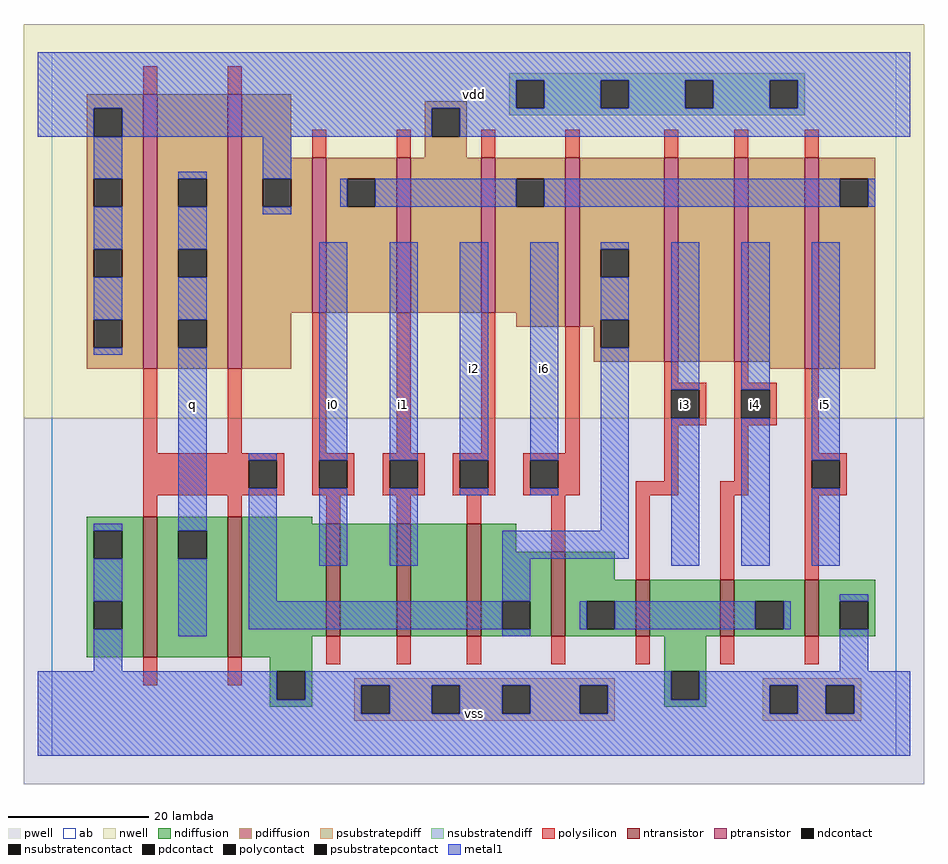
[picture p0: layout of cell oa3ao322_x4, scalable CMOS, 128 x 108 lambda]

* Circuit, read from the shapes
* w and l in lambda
.subckt oa3ao322_x4 i0 i1 i2 i3 i4 i5 i6 q vdd vss
M1 q n1 vss vss nfet w=20 l=2 m=2
M2 n2 i0 vss vss nfet w=16 l=2
M3 n3 i1 n2 vss nfet w=16 l=2
M4 n1 i2 n3 vss nfet w=16 l=2
M5 n4 i6 n1 vss nfet w=12 l=2
M6 vss i3 n4 vss nfet w=8 l=2
M7 n4 i4 vss vss nfet w=8 l=2
M8 vss i5 n4 vss nfet w=8 l=2
M9 q n1 vdd vdd pfet w=39 l=2 m=2
M10 n5 i0 vdd vdd pfet w=22 l=2
M11 vdd i1 n5 vdd pfet w=22 l=2
M12 n5 i2 vdd vdd pfet w=22 l=2
M13 n1 i6 n5 vdd pfet w=24 l=2
M14 n6 i3 n1 vdd pfet w=29 l=2
M15 n7 i4 n6 vdd pfet w=29 l=2
M16 n5 i5 n7 vdd pfet w=30 l=2
.ends

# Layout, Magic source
magic
tech scmos
<< ab >>
rect 0 0 120 100
<< pwell >>
rect -4 -4 124 48
<< nwell >>
rect -4 48 124 104
<< polysilicon >>
rect 13 94 15 98
rect 25 94 27 98
rect 37 85 39 89
rect 49 85 51 89
rect 61 85 63 89
rect 73 85 75 89
rect 87 85 89 89
rect 97 85 99 89
rect 107 85 109 89
rect 13 43 15 55
rect 25 43 27 55
rect 37 43 39 63
rect 49 43 51 63
rect 61 43 63 63
rect 73 43 75 61
rect 13 42 33 43
rect 13 38 28 42
rect 32 38 33 42
rect 13 37 33 38
rect 37 42 43 43
rect 37 38 38 42
rect 42 38 43 42
rect 37 37 43 38
rect 47 42 53 43
rect 47 38 48 42
rect 52 38 53 42
rect 47 37 53 38
rect 57 42 63 43
rect 57 38 58 42
rect 62 38 63 42
rect 57 37 63 38
rect 67 42 75 43
rect 67 38 68 42
rect 72 38 75 42
rect 87 53 89 56
rect 97 53 99 56
rect 87 52 93 53
rect 87 48 88 52
rect 92 48 93 52
rect 87 47 93 48
rect 97 52 103 53
rect 97 48 98 52
rect 102 48 103 52
rect 97 47 103 48
rect 87 39 89 47
rect 97 39 99 47
rect 67 37 75 38
rect 83 37 89 39
rect 95 37 99 39
rect 107 43 109 55
rect 107 42 113 43
rect 107 38 108 42
rect 112 38 113 42
rect 107 37 113 38
rect 13 34 15 37
rect 25 34 27 37
rect 39 33 41 37
rect 49 33 51 37
rect 59 33 61 37
rect 71 29 73 37
rect 83 25 85 37
rect 95 25 97 37
rect 107 25 109 37
rect 13 10 15 14
rect 25 10 27 14
rect 39 13 41 17
rect 49 13 51 17
rect 59 13 61 17
rect 71 13 73 17
rect 83 13 85 17
rect 95 13 97 17
rect 107 13 109 17
<< ndiffusion >>
rect 5 32 13 34
rect 5 28 6 32
rect 10 28 13 32
rect 5 22 13 28
rect 5 18 6 22
rect 10 18 13 22
rect 5 14 13 18
rect 15 32 25 34
rect 15 28 18 32
rect 22 28 25 32
rect 15 14 25 28
rect 27 33 37 34
rect 27 17 39 33
rect 41 17 49 33
rect 51 17 59 33
rect 61 29 66 33
rect 61 22 71 29
rect 61 18 64 22
rect 68 18 71 22
rect 61 17 71 18
rect 73 25 80 29
rect 73 22 83 25
rect 73 18 76 22
rect 80 18 83 22
rect 73 17 83 18
rect 85 17 95 25
rect 97 22 107 25
rect 97 18 100 22
rect 104 18 107 22
rect 97 17 107 18
rect 109 22 117 25
rect 109 18 112 22
rect 116 18 117 22
rect 109 17 117 18
rect 27 14 37 17
rect 31 12 37 14
rect 31 8 32 12
rect 36 8 37 12
rect 87 12 93 17
rect 31 7 37 8
rect 87 8 88 12
rect 92 8 93 12
rect 87 7 93 8
<< pdiffusion >>
rect 5 92 13 94
rect 5 88 6 92
rect 10 88 13 92
rect 5 82 13 88
rect 5 78 6 82
rect 10 78 13 82
rect 5 72 13 78
rect 5 68 6 72
rect 10 68 13 72
rect 5 62 13 68
rect 5 58 6 62
rect 10 58 13 62
rect 5 55 13 58
rect 15 82 25 94
rect 15 78 18 82
rect 22 78 25 82
rect 15 72 25 78
rect 15 68 18 72
rect 22 68 25 72
rect 15 62 25 68
rect 15 58 18 62
rect 22 58 25 62
rect 15 55 25 58
rect 27 85 34 94
rect 53 92 59 93
rect 53 88 54 92
rect 58 88 59 92
rect 53 85 59 88
rect 27 82 37 85
rect 27 78 30 82
rect 34 78 37 82
rect 27 63 37 78
rect 39 82 49 85
rect 39 78 42 82
rect 46 78 49 82
rect 39 63 49 78
rect 51 63 61 85
rect 63 82 73 85
rect 63 78 66 82
rect 70 78 73 82
rect 63 63 73 78
rect 27 55 34 63
rect 66 61 73 63
rect 75 72 87 85
rect 75 68 78 72
rect 82 68 87 72
rect 75 62 87 68
rect 75 61 78 62
rect 77 58 78 61
rect 82 58 87 62
rect 77 56 87 58
rect 89 56 97 85
rect 99 56 107 85
rect 102 55 107 56
rect 109 82 117 85
rect 109 78 112 82
rect 116 78 117 82
rect 109 55 117 78
<< metal1 >>
rect -2 96 122 100
rect -2 92 66 96
rect 70 92 78 96
rect 82 92 90 96
rect 94 92 102 96
rect 106 92 122 96
rect -2 88 6 92
rect 10 88 54 92
rect 58 88 122 92
rect 6 82 10 88
rect 6 72 10 78
rect 6 62 10 68
rect 6 57 10 58
rect 18 82 22 83
rect 18 72 22 78
rect 30 82 34 88
rect 41 78 42 82
rect 46 78 66 82
rect 70 78 112 82
rect 116 78 117 82
rect 30 77 34 78
rect 18 62 22 68
rect 6 32 10 33
rect 6 22 10 28
rect 6 12 10 18
rect 18 32 22 58
rect 18 17 22 28
rect 28 42 32 43
rect 28 22 32 38
rect 38 42 42 73
rect 38 27 42 38
rect 48 42 52 73
rect 48 27 52 38
rect 58 42 62 73
rect 58 37 62 38
rect 68 42 72 73
rect 68 37 72 38
rect 78 72 82 73
rect 78 62 82 68
rect 78 32 82 58
rect 64 28 82 32
rect 88 52 92 73
rect 64 22 68 28
rect 88 27 92 48
rect 98 52 102 73
rect 98 27 102 48
rect 108 42 112 73
rect 108 27 112 38
rect 112 22 116 23
rect 28 18 64 22
rect 75 18 76 22
rect 80 18 100 22
rect 104 18 105 22
rect 64 17 68 18
rect 112 12 116 18
rect -2 8 32 12
rect 36 10 88 12
rect 36 8 44 10
rect -2 6 44 8
rect 48 6 54 10
rect 58 6 64 10
rect 68 6 75 10
rect 79 8 88 10
rect 92 10 122 12
rect 92 8 102 10
rect 79 6 102 8
rect 106 6 110 10
rect 114 6 122 10
rect -2 0 122 6
<< ntransistor >>
rect 13 14 15 34
rect 25 14 27 34
rect 39 17 41 33
rect 49 17 51 33
rect 59 17 61 33
rect 71 17 73 29
rect 83 17 85 25
rect 95 17 97 25
rect 107 17 109 25
<< ptransistor >>
rect 13 55 15 94
rect 25 55 27 94
rect 37 63 39 85
rect 49 63 51 85
rect 61 63 63 85
rect 73 61 75 85
rect 87 56 89 85
rect 97 56 99 85
rect 107 55 109 85
<< polycontact >>
rect 28 38 32 42
rect 38 38 42 42
rect 48 38 52 42
rect 58 38 62 42
rect 68 38 72 42
rect 88 48 92 52
rect 98 48 102 52
rect 108 38 112 42
<< ndcontact >>
rect 6 28 10 32
rect 6 18 10 22
rect 18 28 22 32
rect 64 18 68 22
rect 76 18 80 22
rect 100 18 104 22
rect 112 18 116 22
rect 32 8 36 12
rect 88 8 92 12
<< pdcontact >>
rect 6 88 10 92
rect 6 78 10 82
rect 6 68 10 72
rect 6 58 10 62
rect 18 78 22 82
rect 18 68 22 72
rect 18 58 22 62
rect 54 88 58 92
rect 30 78 34 82
rect 42 78 46 82
rect 66 78 70 82
rect 78 68 82 72
rect 78 58 82 62
rect 112 78 116 82
<< psubstratepcontact >>
rect 44 6 48 10
rect 54 6 58 10
rect 64 6 68 10
rect 75 6 79 10
rect 102 6 106 10
rect 110 6 114 10
<< nsubstratencontact >>
rect 66 92 70 96
rect 78 92 82 96
rect 90 92 94 96
rect 102 92 106 96
<< psubstratepdiff >>
rect 43 10 80 11
rect 43 6 44 10
rect 48 6 54 10
rect 58 6 64 10
rect 68 6 75 10
rect 79 6 80 10
rect 101 10 115 11
rect 43 5 80 6
rect 101 6 102 10
rect 106 6 110 10
rect 114 6 115 10
rect 101 5 115 6
<< nsubstratendiff >>
rect 65 96 107 97
rect 65 92 66 96
rect 70 92 78 96
rect 82 92 90 96
rect 94 92 102 96
rect 106 92 107 96
rect 65 91 107 92
<< labels >>
rlabel metal1 20 50 20 50 6 q
rlabel metal1 40 50 40 50 6 i0
rlabel metal1 60 6 60 6 6 vss
rlabel metal1 50 50 50 50 6 i1
rlabel metal1 60 55 60 55 6 i2
rlabel metal1 60 94 60 94 6 vdd
rlabel metal1 70 55 70 55 6 i6
rlabel polycontact 90 50 90 50 6 i3
rlabel polycontact 100 50 100 50 6 i4
rlabel metal1 110 50 110 50 6 i5
<< end >>
